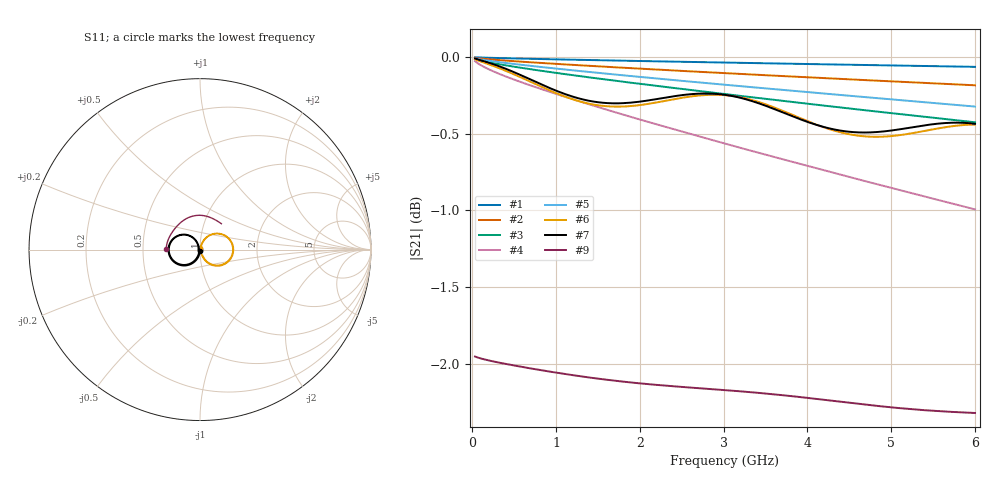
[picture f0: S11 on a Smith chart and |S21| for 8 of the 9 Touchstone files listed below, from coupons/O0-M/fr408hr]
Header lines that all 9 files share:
! stackup OSHPARK-4L-FR408HR, nominal parameters; geometry of the OSHPARK-4L-FR408HR design
! model: 2D quasi-static RLGC (Djordjevic-Sarkar, Huray roughness, Wheeler loss); generated by python -m yapnr.rf.coupons expected --stackup OSHPARK-4L-FR408HR --upload M
! reference planes 10 mm from each end; 50 ohm (from the M line's Zc)
# GHz S DB R 50
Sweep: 30 MHz to 6 GHz
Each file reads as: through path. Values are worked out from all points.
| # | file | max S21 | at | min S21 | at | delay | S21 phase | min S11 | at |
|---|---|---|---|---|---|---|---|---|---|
| 1 | A02-M-line.s2p | 0.00 dB | 30 MHz | -0.1 dB | 6 GHz | 24.6 ps | -27 deg at 3.03 GHz | -72.7 dB | 30 MHz |
| 2 | A03-M-line.s2p | -0.01 dB | 30 MHz | -0.2 dB | 6 GHz | 71.2 ps | -78 deg at 3.03 GHz | -63.5 dB | 30 MHz |
| 3 | A04-M-line.s2p | -0.01 dB | 30 MHz | -0.4 dB | 6 GHz | 164 ps | -180 deg at 3.03 GHz | -69.5 dB | 3.03 GHz |
| 4 | A05-M-line.s2p | -0.03 dB | 30 MHz | -1.0 dB | 6 GHz | 383 ps | -59 deg at 3.03 GHz | -67.4 dB | 1.29 GHz |
| 5 | A07-M-verify.s2p | -0.01 dB | 30 MHz | -0.3 dB | 6 GHz | 115 ps | -126 deg at 3.03 GHz | -68.5 dB | 4.35 GHz |
| 6 | A08-M07-variant.s2p | -0.01 dB | 30 MHz | -0.5 dB | 4.83 GHz | 161 ps | -177 deg at 3.03 GHz | -44.9 dB | 3.09 GHz |
| 7 | A09-M14-variant.s2p | -0.01 dB | 30 MHz | -0.5 dB | 4.68 GHz | 167 ps | 177 deg at 3.03 GHz | -44.9 dB | 2.97 GHz |
| 8 | A10-MMK-variant.s2p | -0.01 dB | 30 MHz | -0.5 dB | 6 GHz | 169 ps | 176 deg at 3.03 GHz | -66.5 dB | 2.97 GHz |
| 9 | A14-M-switch.s2p | -1.95 dB | 30 MHz | -2.3 dB | 6 GHz | 163 ps | -178 deg at 3.03 GHz | -14.4 dB | 1.74 GHz |
